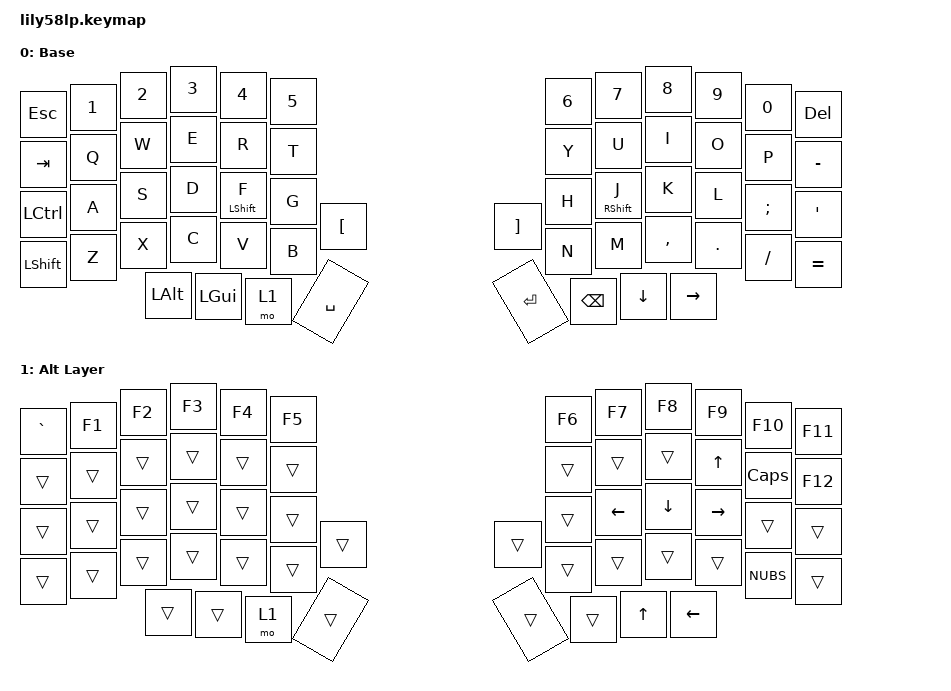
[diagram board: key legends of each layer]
/*
 * Copyright (c) 2020 The ZMK Contributors
 *
 * SPDX-License-Identifier: MIT
 */

#include <behaviors.dtsi>
#include <dt-bindings/zmk/keys.h>
#include <dt-bindings/zmk/bt.h>
#include <dt-bindings/zmk/ext_power.h>


&mt {
    tapping-term-ms = <100>;
}

 /{
    keymap {
        compatible = "zmk,keymap";

        default_layer {
            display-name = "Base";

            bindings = <
&kp ESC   &kp N1 &kp N2 &kp N3   &kp N4        &kp N5                    &kp N6 &kp N7   &kp N8    &kp N9  &kp N0   &kp DEL
&kp TAB   &kp Q  &kp W  &kp E    &kp R         &kp T                     &kp Y  &kp U    &kp I     &kp O   &kp P    &kp MINUS
&kp LCTRL &kp A  &kp S  &kp D    &mt LSHFT F   &kp G                     &kp H  &mt RSHIFT J    &kp K     &kp L   &kp SEMI &kp SQT
&kp LSHFT &kp Z  &kp X  &kp C    &kp V    &kp B  &kp LBKT       &kp RBKT   &kp N  &kp M   &kp COMMA &kp DOT &kp FSLH &kp EQUAL
                        &kp LALT &kp LGUI &mo 1  &kp SPACE      &kp RET  &kp BSPC  &kp DOWN &kp RIGHT
            >;

        };

        lower_layer {
			display-name = "Alt Layer";

			bindings = <
&kp GRAVE &kp F1    &kp F2      &kp F3      &kp F4    &kp F5            	                    &kp F6 	&kp F7	    &kp F8      &kp F9      &kp F10     &kp F11  
&trans	  &trans    &trans      &trans      &trans    &trans	        					    &trans  &trans      &trans      &kp UP      &kp CAPS    &kp F12
&trans    &trans  	&trans	    &trans      &trans    &trans        						    &trans  &kp LEFT    &kp DOWN    &kp RIGHT   &trans      &trans
&trans    &trans  	&trans      &trans      &trans	  &trans   &trans	                &trans  &trans  &trans      &trans 	    &trans      &kp NUBS    &trans
                              &trans      &trans	  &mo 1    &trans	                &trans  &trans  &kp UP  &kp LEFT
			>;

		};

    };
};
